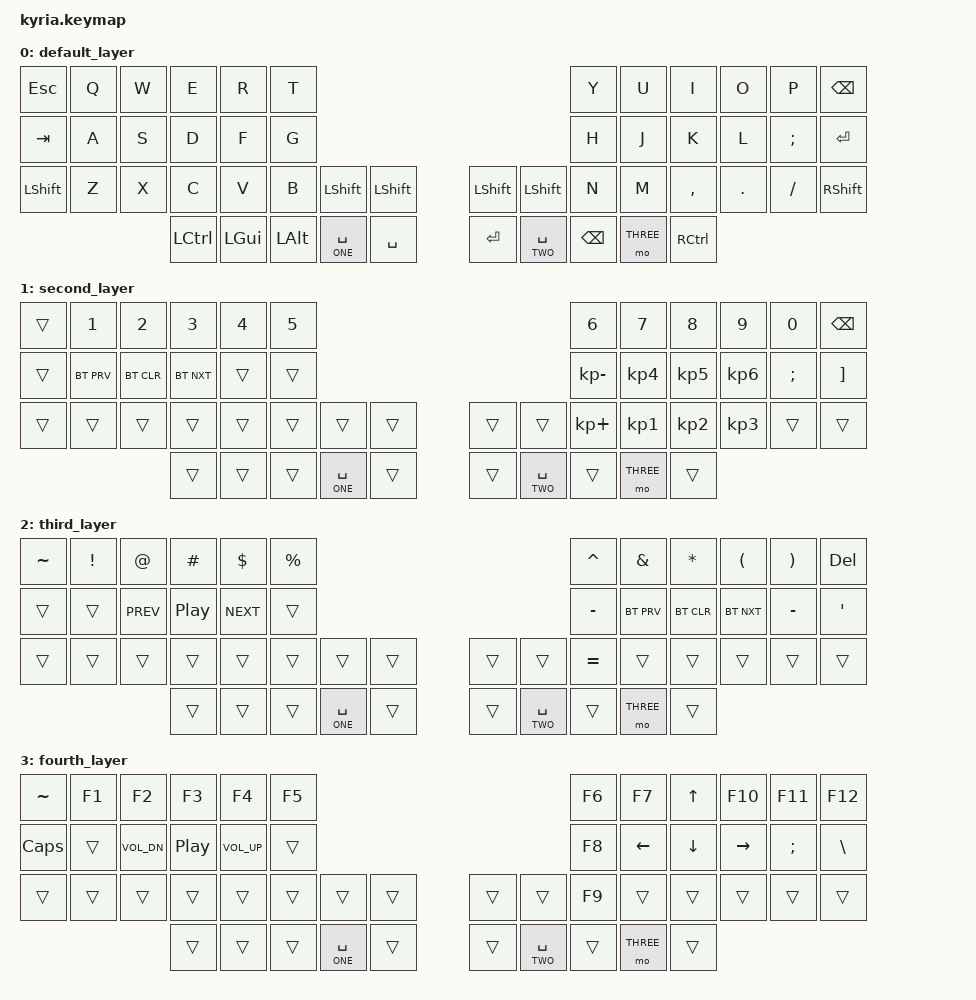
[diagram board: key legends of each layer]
/*
 * Copyright (c) 2020 The ZMK Contributors
 *
 * SPDX-License-Identifier: MIT
 */

#include <behaviors.dtsi>
#include <dt-bindings/zmk/keys.h>
#include <dt-bindings/zmk/bt.h>

#define DEFAULT 0
#define ONE   1
#define TWO   2
#define THREE   3

/ {
	keymap {
		compatible = "zmk,keymap";


		default_layer {
// ---------------------------------------------------------------------------------------------------------------------------------
// |  ESC  |  Q  |  W  |  E   |  R   |  T   |                                          	     |  Y   |  U    |  I    |  O   |   P   | BSPC  |
// |  TAB  |  A  |  S  |  D   |  F   |  G   |                                          	     |  H   |  J    |  K    |  L   |   ;   | ENTER |
// | SHIFT |  Z  |  X  |  C   |  V   |  B   | L SHIFT | L SHIFT | 	 | L SHIFT | L SHIFT |  N   |  M    |  ,    |  .   |   /   | RSHFT |
//                     | CTRL  | WIN  | ALT |  SPACE  |  SPACE  |  	 |   RET   |  SPACE  | MO3  |  BKSP | R-CRTL|
			bindings = <
	&kp ESC   &kp Q &kp W &kp E &kp R &kp T                                                &kp Y &kp U  &kp I     &kp O   &kp P    &kp BSPC
	&kp TAB   &kp A &kp S &kp D &kp F &kp G                                                &kp H &kp J  &kp K     &kp L   &kp SEMI &kp RET
	&kp LSHFT &kp Z &kp X &kp C &kp V &kp B &kp LSHFT &kp LSHFT        	   &kp LSHFT &kp LSHFT &kp N &kp M  &kp COMMA &kp DOT &kp FSLH &kp RSHFT
	                &kp LCTRL &kp LGUI &kp LALT &lt ONE SPACE &kp SPACE        &kp RET  &lt TWO SPACE &kp BSPC &mo THREE &kp RCTRL
			>;
		};
	
	
		second_layer {
// ---------------------------------------------------------------------------------------------------------------------------------
// |   -   |  1  |  2  |  3   |  4   |  5   |                                          	     |   6  |   7   |   8   |  9   |   0   | BKSP |
// |   -   | bt l|btclr| bt r |  -   |  -   |                                          	     |  "-" |   4   |   5   |  6   |   ;   |   ]  |
// |   -   |  -  |  -  |  -   |  -   |  -   |    -    |    -    | 	 |    -    |    -    |   +  |   1   |   2   |  3   |   -   |   -  |
//                     |   -  |  -   |  -   |   M1    |    -    |  	 |    -    |    M2   |  MO3 |   -   |   -   |
			bindings = <
	&trans   &kp N1 &kp N2 &kp N3 &kp N4 &kp N5                                          &kp N6 &kp N7  &kp N8  &kp N9  &kp N0   &kp BSPC
	&trans   &bt BT_PRV  &bt BT_CLR  &bt BT_NXT &trans &trans                                          &kp KP_SUBTRACT &kp KP_N4  &kp KP_N5  &kp KP_N6  &kp SEMI &kp RBKT
	&trans &trans &trans &trans &trans &trans &trans &trans        	       &trans &trans &kp KP_PLUS &kp KP_N1  &kp KP_N2 &kp KP_N3 &trans &trans
	                 &trans &trans &trans &lt ONE SPACE &trans             &trans  &lt TWO SPACE &trans &mo THREE &trans
			>;
		};
	
	
        	third_layer {
// ---------------------------------------------------------------------------------------------------------------------------------
// | TILDE |  !  |  @  |  #   |  $   |  %   |                                               |   ^  |   &   |   *   |  (   |   )   |  DEL |
// |   -   |  -  | prvs| play | next |  -   |                                               |  "-" |  bt l | btclr | bt r |  "-"  |   '  |
// |   -   |  -  |  -  |  -   |  -   |  -   |    -    |    -    |       |    -    |    -    |   =  |   -   |   -   |  -   |   -   |   -  |
//                     |   -  |  -   |  -   |   M1    |    -    |       |    -    |    M2   |  MO3 |   -   |   -   |
		    bindings = <
	    &kp TILDE &kp EXCL &kp AT &kp POUND &kp DLLR &kp PRCNT                                  &kp CARET &kp AMPS  &kp STAR  &kp LPAR  &kp RPAR &kp DEL
	    &trans &trans &kp C_PREV  &kp C_PLAY_PAUSE &kp C_NEXT &trans                            &kp MINUS &bt BT_PRV  &bt BT_CLR  &bt BT_NXT  &kp MINUS &kp APOS
	    &trans &trans &trans &trans &trans &trans &trans &trans                   &trans &trans &kp EQUAL &trans &trans &trans &trans &trans
	                 &trans &trans &trans &lt ONE SPACE &trans        	      &trans  &lt TWO SPACE &trans &mo THREE &trans
			>;
		};
	
	
        	fourth_layer {
// ---------------------------------------------------------------------------------------------------------------------------------
// | TILDE |  F1 |  F2 |  F3  |  F4  |  F5  |                                               |  F6  |   F7  |   UP  |  F10 |  F11  |  F12 |
// | CAPS  |  -  | VOL-| PLAY | VOL+ |  -   |                                               |  F8  |  LEFT |  DOWN | RIGHT|   ;   |   \  |
// |   -   |  -  |  -  |   -  |  -   |  -   |    -    |    -    |       |    -    |    -    |  F9  |   -   |   -   |  -   |   -   |   -  |
//                     |   -  |  -   |  -   |   M1    |    -    |       |    -    |    M2   |  MO3 |   -   |   -   |
            bindings = <
    &kp TILDE &kp F1 &kp F2 &kp F3 &kp F4 &kp F5                                       		&kp F6 &kp F7  &kp UP  &kp F10  &kp F11  &kp F12
    &kp CAPS &trans &kp C_VOL_DN &kp C_PLAY_PAUSE &kp C_VOL_UP  &trans                          &kp F8 &kp LEFT  &kp DOWN  &kp RIGHT  &kp SEMI &kp BSLH
    &trans &trans &trans &trans &trans &trans &trans &trans                   &trans &trans &kp F9 &trans  &trans &trans &trans &trans
                     &trans &trans &trans &lt ONE SPACE &trans                &trans  &lt TWO SPACE &trans &mo THREE &trans
		    >;
		};	
	
	};
};
